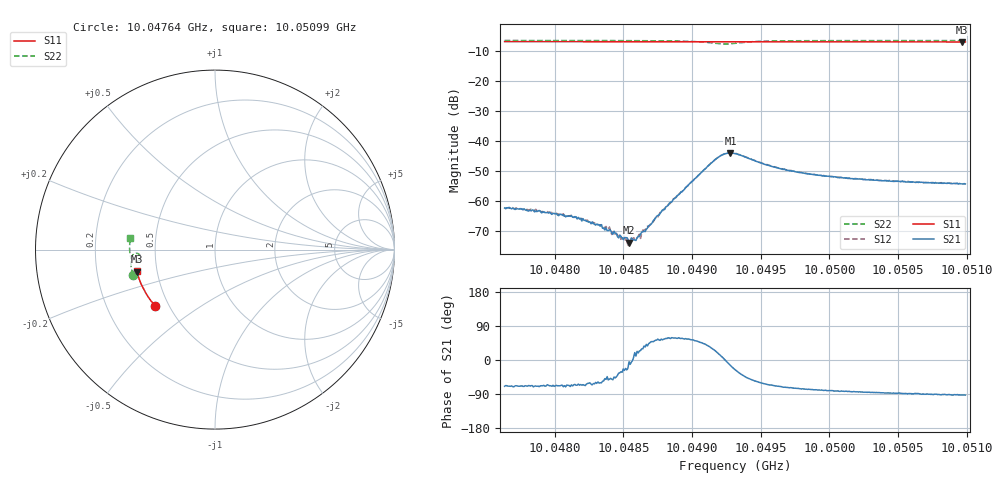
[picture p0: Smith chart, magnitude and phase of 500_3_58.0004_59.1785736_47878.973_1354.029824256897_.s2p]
#  HZ  S  RI  R  50.00
! Rohde & Schwarz Vector Network Analyzer
! Rohde-Schwarz,ZNB20-2Port,1311601062101988,3.16
! Created: UTC 3/21/2024, 1:12:45 AM
! freq[Hz]  re:S11  im:S11  re:S21  im:S21  re:S12  im:S12  re:S22  im:S22
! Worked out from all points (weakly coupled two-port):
!   401 points, 10.04764 GHz to 10.05099 GHz, reference 50 ohm
!   highest |S21| = -43.89 dB at 10.04928 GHz (marker M1); lowest = -73.8 dB at 10.04854 GHz (marker M2)
!   lowest |S11| = -6.9 dB at 10.05096 GHz (marker M3), VSWR 2.65, Z = 19.2 - j5.95 ohm
!   |S11| at or under -10 dB: nowhere
!   |S22| runs from -7.6 to -6.4 dB; largest |S21 - S12| = 0.00043
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1.0047636e10  -0.3331 -0.3142  0.000274 -0.000725  0.000361 -0.000702  -0.4572 -0.1418
1.0047845e10  -0.3421 -0.3036  0.000233 -0.000674  0.000303 -0.000628  -0.4608 -0.1276
1.0048139e10  -0.3543 -0.2886  0.000224 -0.000493  0.000254 -0.00049  -0.4652 -0.1074
1.0048198e10  -0.3567 -0.2856  0.000188 -0.000431  0.000255 -0.000453  -0.4659 -0.1032
1.0048323e10  -0.3616 -0.2789  0.000199 -0.000357  0.000224 -0.000335  -0.4672 -0.0941
1.0048382e10  -0.3638 -0.2757  0.000237 -0.000227  0.000234 -0.000263  -0.4678 -0.0896
1.0048424e10  -0.3656 -0.2734  0.000173 -0.000223  0.000208 -0.000232  -0.4682 -0.0864
1.0048508e10  -0.3684 -0.2689  0.000221 -0.000115  0.000238 -0.000109  -0.4688 -0.08
1.0048541e10  -0.3698 -0.2671  0.000203 -1.66e-05  0.000214 -3.75e-05  -0.4689 -0.077
1.0048558e10  -0.3704 -0.2661  0.000245 -2.42e-05  0.000226 -1.56e-05  -0.4691 -0.0757
1.00486e10  -0.372 -0.2639  0.00023 9.62e-05  0.000225 9.14e-05  -0.4692 -0.0724
1.0048759e10  -0.3777 -0.2551  0.000355 0.00047  0.000319 0.000509  -0.4686 -0.0581
1.0048868e10  -0.3814 -0.2489  0.000583 0.000925  0.000555 0.000967  -0.4667 -0.0471
1.0049153e10  -0.3906 -0.2325  0.00407 0.00222  0.00392 0.0025  -0.4327 -0.0211
1.0049221e10  -0.3925 -0.2288  0.0059 0.000768  0.00585 0.00114  -0.4173 -0.0335
1.0049279e10  -0.3942 -0.2258  0.00619 -0.00158  0.00631 -0.00117  -0.4178 -0.0525
1.0049313e10  -0.3953 -0.2239  0.00564 -0.00268  0.00586 -0.00233  -0.4247 -0.0604
1.0049589e10  -0.4039 -0.2079  0.00148 -0.00346  0.00169 -0.00341  -0.4671 -0.0442
1.0049874e10  -0.4118 -0.1909  0.000594 -0.00276  0.000731 -0.00276  -0.4744 -0.0173
1.0050436e10  -0.4251 -0.1565  0.000104 -0.0022  0.000245 -0.00222  -0.4754 0.0254
1.0050964e10  -0.4349 -0.1234  -7.01e-05 -0.00195  2.15e-05 -0.00196  -0.4721 0.062
1.005099e10  -0.4355 -0.1217  -8.95e-05 -0.00195  1.16e-05 -0.00196  -0.4718 0.0637
